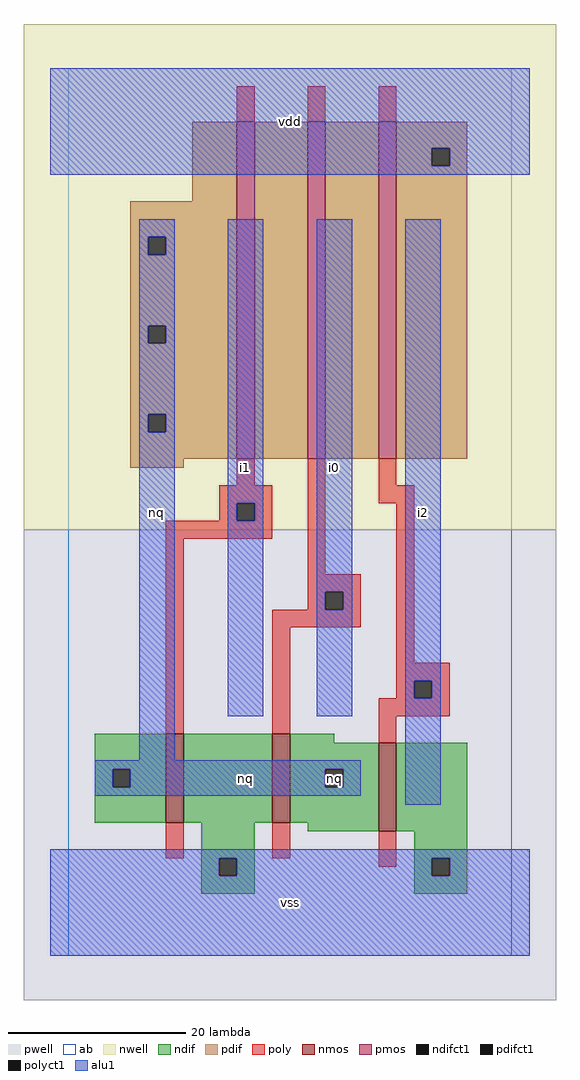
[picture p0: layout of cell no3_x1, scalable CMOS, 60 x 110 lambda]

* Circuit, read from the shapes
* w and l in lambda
.subckt no3_x1 i0 i1 i2 nq vdd vss
M1 vss i1 nq VSUBS nfet w=10 l=2
M2 nq i0 vss VSUBS nfet w=10 l=2
M3 vss i2 nq VSUBS nfet w=10 l=2
M4 n1 i1 nq n2 pfet w=38 l=2
M5 n3 i0 n1 n2 pfet w=38 l=2
M6 vdd i2 n3 n2 pfet w=38 l=2
.ends

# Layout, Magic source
magic
tech scmos
<< ab >>
rect 0 0 50 100
<< nwell >>
rect -5 48 55 105
<< pwell >>
rect -5 -5 55 48
<< poly >>
rect 19 94 21 98
rect 27 94 29 98
rect 35 94 37 98
rect 19 53 21 56
rect 17 51 23 53
rect 17 49 19 51
rect 21 49 23 51
rect 11 47 23 49
rect 11 25 13 47
rect 27 43 29 56
rect 35 53 37 56
rect 35 51 39 53
rect 27 41 33 43
rect 27 39 29 41
rect 31 39 33 41
rect 23 37 33 39
rect 23 25 25 37
rect 37 33 39 51
rect 37 31 43 33
rect 37 29 39 31
rect 41 29 43 31
rect 35 27 43 29
rect 35 24 37 27
rect 11 11 13 15
rect 23 11 25 15
rect 35 10 37 14
<< ndif >>
rect 3 21 11 25
rect 3 19 5 21
rect 7 19 11 21
rect 3 15 11 19
rect 13 15 23 25
rect 25 24 30 25
rect 25 21 35 24
rect 25 19 29 21
rect 31 19 35 21
rect 25 15 35 19
rect 15 11 21 15
rect 27 14 35 15
rect 37 14 45 24
rect 15 9 17 11
rect 19 9 21 11
rect 39 11 45 14
rect 15 7 21 9
rect 39 9 41 11
rect 43 9 45 11
rect 39 7 45 9
<< pdif >>
rect 14 85 19 94
rect 7 81 19 85
rect 7 79 9 81
rect 11 79 19 81
rect 7 71 19 79
rect 7 69 9 71
rect 11 69 19 71
rect 7 61 19 69
rect 7 59 9 61
rect 11 59 19 61
rect 7 56 19 59
rect 21 56 27 94
rect 29 56 35 94
rect 37 91 45 94
rect 37 89 41 91
rect 43 89 45 91
rect 37 56 45 89
rect 7 55 13 56
<< alu1 >>
rect -2 91 52 100
rect -2 89 41 91
rect 43 89 52 91
rect -2 88 52 89
rect 8 81 12 83
rect 8 79 9 81
rect 11 79 12 81
rect 8 71 12 79
rect 8 69 9 71
rect 11 69 12 71
rect 8 61 12 69
rect 8 59 9 61
rect 11 59 12 61
rect 8 22 12 59
rect 18 51 22 83
rect 18 49 19 51
rect 21 49 22 51
rect 18 27 22 49
rect 28 41 32 83
rect 28 39 29 41
rect 31 39 32 41
rect 28 27 32 39
rect 38 31 42 83
rect 38 29 39 31
rect 41 29 42 31
rect 3 21 33 22
rect 3 19 5 21
rect 7 19 29 21
rect 31 19 33 21
rect 3 18 33 19
rect 38 17 42 29
rect -2 11 52 12
rect -2 9 17 11
rect 19 9 41 11
rect 43 9 52 11
rect -2 0 52 9
<< nmos >>
rect 11 15 13 25
rect 23 15 25 25
rect 35 14 37 24
<< pmos >>
rect 19 56 21 94
rect 27 56 29 94
rect 35 56 37 94
<< polyct1 >>
rect 19 49 21 51
rect 29 39 31 41
rect 39 29 41 31
<< ndifct1 >>
rect 5 19 7 21
rect 29 19 31 21
rect 17 9 19 11
rect 41 9 43 11
<< pdifct1 >>
rect 9 79 11 81
rect 9 69 11 71
rect 9 59 11 61
rect 41 89 43 91
<< labels >>
rlabel alu1 20 20 20 20 6 nq
rlabel alu1 10 50 10 50 6 nq
rlabel alu1 20 55 20 55 6 i1
rlabel alu1 25 6 25 6 6 vss
rlabel ndifct1 30 20 30 20 6 nq
rlabel alu1 30 55 30 55 6 i0
rlabel alu1 25 94 25 94 6 vdd
rlabel alu1 40 50 40 50 6 i2
<< end >>
